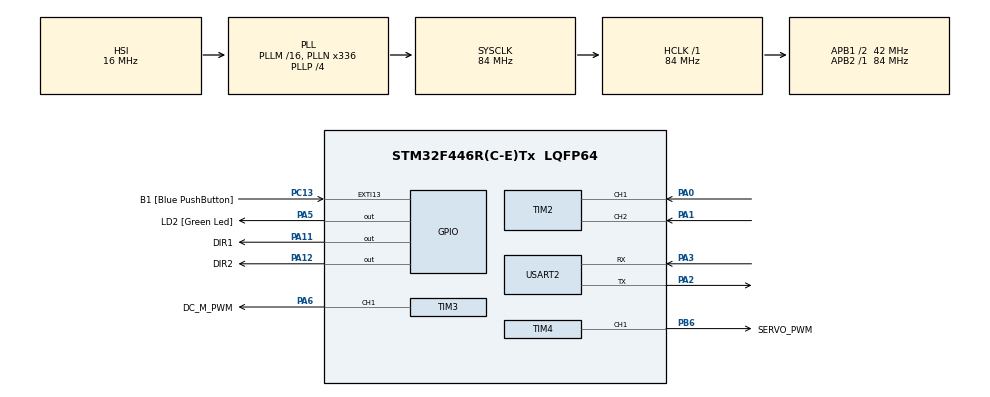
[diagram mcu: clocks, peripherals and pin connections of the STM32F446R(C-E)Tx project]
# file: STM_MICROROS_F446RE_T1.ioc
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Dma.Request0=USART2_RX
Dma.Request1=USART2_TX
Dma.USART2_RX.0.Direction=DMA_PERIPH_TO_MEMORY
Dma.USART2_RX.0.FIFOMode=DMA_FIFOMODE_DISABLE
Dma.USART2_RX.0.Instance=DMA1_Stream5
Dma.USART2_RX.0.MemDataAlignment=DMA_MDATAALIGN_BYTE
Dma.USART2_RX.0.MemInc=DMA_MINC_ENABLE
Dma.USART2_RX.0.Mode=DMA_CIRCULAR
Dma.USART2_RX.0.PeriphDataAlignment=DMA_PDATAALIGN_BYTE
Dma.USART2_RX.0.PeriphInc=DMA_PINC_DISABLE
Dma.USART2_RX.0.Priority=DMA_PRIORITY_LOW
Dma.USART2_TX.1.Direction=DMA_MEMORY_TO_PERIPH
Dma.USART2_TX.1.FIFOMode=DMA_FIFOMODE_DISABLE
Dma.USART2_TX.1.Instance=DMA1_Stream6
Dma.USART2_TX.1.MemDataAlignment=DMA_MDATAALIGN_BYTE
Dma.USART2_TX.1.MemInc=DMA_MINC_ENABLE
Dma.USART2_TX.1.Mode=DMA_CIRCULAR
Dma.USART2_TX.1.PeriphDataAlignment=DMA_PDATAALIGN_BYTE
Dma.USART2_TX.1.PeriphInc=DMA_PINC_DISABLE
Dma.USART2_TX.1.Priority=DMA_PRIORITY_LOW
FREERTOS.Queues01=DCQueue,16,uint16_t,0,Dynamic,NULL,NULL;ServoQueue,16,uint16_t,0,Dynamic,NULL,NULL
FREERTOS.Tasks01=UART_Task,24,128,UART_Task_Start,Default,NULL,Dynamic,NULL,NULL;DCMotor_Task,16,128,DCMotor_Task_Start,Default,NULL,Dynamic,NULL,NULL;Servo_Task,17,128,Servo_Task_Start,Default,NULL,Dynamic,NULL,NULL;microROS_Task,24,3000,microROS_StartTask,Default,NULL,Dynamic,NULL,NULL
Mcu.Family=STM32F4
Mcu.Name=STM32F446R(C-E)Tx
Mcu.Package=LQFP64
NVIC.DMA1_Stream5_IRQn=true\:5\:0\:false\:false\:true\:true\:false\:true\:true
NVIC.DMA1_Stream6_IRQn=true\:5\:0\:false\:false\:true\:true\:false\:true\:true
NVIC.PriorityGroup=NVIC_PRIORITYGROUP_4
NVIC.TIM6_DAC_IRQn=true\:15\:0\:false\:false\:true\:false\:false\:true\:true
NVIC.TimeBase=TIM6_DAC_IRQn
NVIC.TimeBaseIP=TIM6
NVIC.USART2_IRQn=true\:5\:0\:false\:false\:true\:true\:true\:true\:true
PA0-WKUP.Signal=S_TIM2_CH1_ETR
PA1.Signal=S_TIM2_CH2
PA11.GPIO_Label=DIR1
PA11.Signal=GPIO_Output
PA12.GPIO_Label=DIR2
PA12.Signal=GPIO_Output
PA13.GPIO_Label=TMS
PA13.Mode=Serial_Wire
PA13.Signal=SYS_JTMS-SWDIO
PA14.GPIO_Label=TCK
PA14.Mode=Serial_Wire
PA14.Signal=SYS_JTCK-SWCLK
PA2.Mode=Asynchronous
PA2.Signal=USART2_TX
PA3.Mode=Asynchronous
PA3.Signal=USART2_RX
PA5.GPIO_Label=LD2 [Green Led]
PA5.Signal=GPIO_Output
PA6.GPIO_Label=DC_M_PWM
PA6.Signal=S_TIM3_CH1
PB3.GPIO_Label=SWO
PB3.Signal=SYS_JTDO-SWO
PB6.GPIO_Label=SERVO_PWM
PB6.Signal=S_TIM4_CH1
PC13.GPIO_Label=B1 [Blue PushButton]
PC13.GPIO_ModeDefaultEXTI=GPIO_MODE_IT_FALLING
PC13.Signal=GPXTI13
PC14-OSC32_IN.Mode=LSE-External-Oscillator
PC14-OSC32_IN.Signal=RCC_OSC32_IN
PC15-OSC32_OUT.Mode=LSE-External-Oscillator
PC15-OSC32_OUT.Signal=RCC_OSC32_OUT
PH0-OSC_IN.Mode=HSE-External-Oscillator
PH0-OSC_IN.Signal=RCC_OSC_IN
PH1-OSC_OUT.Mode=HSE-External-Oscillator
PH1-OSC_OUT.Signal=RCC_OSC_OUT
ProjectManager.HeapSize=0x200
ProjectManager.StackSize=0x400
ProjectManager.TargetToolchain=STM32CubeIDE
RCC.48MHZClocksFreq_Value=84000000
RCC.AHBFreq_Value=84000000
RCC.APB1CLKDivider=RCC_HCLK_DIV2
RCC.APB1Freq_Value=42000000
RCC.APB1TimFreq_Value=84000000
RCC.APB2Freq_Value=84000000
RCC.APB2TimFreq_Value=84000000
RCC.CortexFreq_Value=84000000
RCC.FLatency-AdvancedSettings=FLASH_LATENCY_2
RCC.HCLKFreq_Value=84000000
RCC.HSE_VALUE=8000000
RCC.HSI_VALUE=16000000
RCC.PLLN=336
RCC.PLLP=RCC_PLLP_DIV4
RCC.SYSCLKFreq_VALUE=84000000
RCC.SYSCLKSource=RCC_SYSCLKSOURCE_PLLCLK
RCC.USBFreq_Value=168000000
RCC.VCOOutputFreq_Value=336000000
SH.S_TIM2_CH1_ETR.0=TIM2_CH1,Encoder_Interface
SH.S_TIM2_CH2.0=TIM2_CH2,Encoder_Interface
SH.S_TIM3_CH1.0=TIM3_CH1,PWM Generation1 CH1
SH.S_TIM4_CH1.0=TIM4_CH1,PWM Generation1 CH1
TIM2.EncoderMode=TIM_ENCODERMODE_TI12
TIM3.Channel-PWM\ Generation1\ CH1=TIM_CHANNEL_1
TIM4.Channel-PWM\ Generation1\ CH1=TIM_CHANNEL_1
TIM4.Period=20000 - 1
TIM4.Prescaler=84 - 1
USART2.VirtualMode=VM_ASYNC
VP_FREERTOS_VS_CMSIS_V2.Mode=CMSIS_V2
VP_SYS_VS_tim6.Mode=TIM6
board=NUCLEO-F446RE

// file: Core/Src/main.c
/* USER CODE BEGIN Header */
/**
  ******************************************************************************
  * @file           : main.c
  * @brief          : Main program body
  ******************************************************************************
  * @attention
  *
  * Copyright (c) 2026 STMicroelectronics.
  * All rights reserved.
  *
  * This software is licensed under terms that can be found in the LICENSE file
  * in the root directory of this software component.
  * If no LICENSE file comes with this software, it is provided AS-IS.
  *
  ******************************************************************************
  */
/* USER CODE END Header */
#include "main.h"
#include "cmsis_os.h"

/* USER CODE BEGIN Includes */
#include <stdio.h>
#include <string.h>
#include <stdlib.h>  // ADD THIS for atoi()
/* USER CODE END Includes */

TIM_HandleTypeDef htim2;
TIM_HandleTypeDef htim3;
TIM_HandleTypeDef htim4;

UART_HandleTypeDef huart2;
DMA_HandleTypeDef hdma_usart2_rx;
DMA_HandleTypeDef hdma_usart2_tx;

/* Definitions for UART_Task */
osThreadId_t UART_TaskHandle;
const osThreadAttr_t UART_Task_attributes = {
  .name = "UART_Task",
  .stack_size = 128 * 4,
  .priority = (osPriority_t) osPriorityNormal,
};
/* Definitions for DCMotor_Task */
osThreadId_t DCMotor_TaskHandle;
const osThreadAttr_t DCMotor_Task_attributes = {
  .name = "DCMotor_Task",
  .stack_size = 128 * 4,
  .priority = (osPriority_t) osPriorityBelowNormal,
};
/* Definitions for Servo_Task */
osThreadId_t Servo_TaskHandle;
const osThreadAttr_t Servo_Task_attributes = {
  .name = "Servo_Task",
  .stack_size = 128 * 4,
  .priority = (osPriority_t) osPriorityBelowNormal1,
};
/* Definitions for microROS_Task */
osThreadId_t microROS_TaskHandle;
const osThreadAttr_t microROS_Task_attributes = {
  .name = "microROS_Task",
  .stack_size = 3000 * 4,
  .priority = (osPriority_t) osPriorityNormal,
};
/* Definitions for DCQueue */
osMessageQueueId_t DCQueueHandle;
const osMessageQueueAttr_t DCQueue_attributes = {
  .name = "DCQueue"
};
/* Definitions for ServoQueue */
osMessageQueueId_t ServoQueueHandle;
const osMessageQueueAttr_t ServoQueue_attributes = {
  .name = "ServoQueue"
};
/* USER CODE BEGIN PV */
uint8_t rx_byte; // Global variable for UART buffer
/* USER CODE END PV */

void SystemClock_Config(void);
static void MX_GPIO_Init(void);
static void MX_DMA_Init(void);
static void MX_USART2_UART_Init(void);
static void MX_TIM2_Init(void);
static void MX_TIM3_Init(void);
static void MX_TIM4_Init(void);
void UART_Task_Start(void *argument);
void DCMotor_Task_Start(void *argument);
void Servo_Task_Start(void *argument);
void microROS_StartTask(void *argument);

int main(void)
{

  /* MCU Configuration--------------------------------------------------------*/

  /* Reset of all peripherals, Initializes the Flash interface and the Systick. */
  HAL_Init();

  /* Configure the system clock */
  SystemClock_Config();

  /* Initialize all configured peripherals */
  MX_GPIO_Init();
  MX_DMA_Init();
  MX_USART2_UART_Init();
  MX_TIM2_Init();
  MX_TIM3_Init();
  MX_TIM4_Init();
  /* USER CODE BEGIN 2 */
  HAL_TIM_PWM_Start(&htim3, TIM_CHANNEL_1);       // DC Motor PWM
  HAL_TIM_PWM_Start(&htim4, TIM_CHANNEL_1);       // Servo Motor PWM
  HAL_TIM_Encoder_Start(&htim2, TIM_CHANNEL_ALL); // Encoder Timer

//  HAL_UART_Receive_IT(&huart2, &rx_byte, 1);      // Prime the UART interrupt
  /* USER CODE END 2 */

  /* Init scheduler */
  osKernelInitialize();

  /* Create the queue(s) */
  /* creation of DCQueue */
  DCQueueHandle = osMessageQueueNew (16, sizeof(uint16_t), &DCQueue_attributes);

  /* creation of ServoQueue */
  ServoQueueHandle = osMessageQueueNew (16, sizeof(uint16_t), &ServoQueue_attributes);

  /* Create the thread(s) */
  /* creation of UART_Task */
  UART_TaskHandle = osThreadNew(UART_Task_Start, NULL, &UART_Task_attributes);

  /* creation of DCMotor_Task */
  DCMotor_TaskHandle = osThreadNew(DCMotor_Task_Start, NULL, &DCMotor_Task_attributes);

  /* creation of Servo_Task */
  Servo_TaskHandle = osThreadNew(Servo_Task_Start, NULL, &Servo_Task_attributes);

  /* creation of microROS_Task */
  microROS_TaskHandle = osThreadNew(microROS_StartTask, NULL, &microROS_Task_attributes);

  /* Start scheduler */
  osKernelStart();

  /* We should never get here as control is now taken by the scheduler */

  /* Infinite loop */
  while (1)
  {

  }
}

void SystemClock_Config(void)
{
  RCC_OscInitTypeDef RCC_OscInitStruct = {0};
  RCC_ClkInitTypeDef RCC_ClkInitStruct = {0};

  /** Configure the main internal regulator output voltage
  */
  __HAL_RCC_PWR_CLK_ENABLE();
  __HAL_PWR_VOLTAGESCALING_CONFIG(PWR_REGULATOR_VOLTAGE_SCALE3);

  /** Initializes the RCC Oscillators according to the specified parameters
  * in the RCC_OscInitTypeDef structure.
  */
  RCC_OscInitStruct.OscillatorType = RCC_OSCILLATORTYPE_HSI;
  RCC_OscInitStruct.HSIState = RCC_HSI_ON;
  RCC_OscInitStruct.HSICalibrationValue = RCC_HSICALIBRATION_DEFAULT;
  RCC_OscInitStruct.PLL.PLLState = RCC_PLL_ON;
  RCC_OscInitStruct.PLL.PLLSource = RCC_PLLSOURCE_HSI;
  RCC_OscInitStruct.PLL.PLLM = 16;
  RCC_OscInitStruct.PLL.PLLN = 336;
  RCC_OscInitStruct.PLL.PLLP = RCC_PLLP_DIV4;
  RCC_OscInitStruct.PLL.PLLQ = 2;
  RCC_OscInitStruct.PLL.PLLR = 2;
  if (HAL_RCC_OscConfig(&RCC_OscInitStruct) != HAL_OK)
  {
    Error_Handler();
  }

  /** Initializes the CPU, AHB and APB buses clocks
  */
  RCC_ClkInitStruct.ClockType = RCC_CLOCKTYPE_HCLK|RCC_CLOCKTYPE_SYSCLK
                              |RCC_CLOCKTYPE_PCLK1|RCC_CLOCKTYPE_PCLK2;
  RCC_ClkInitStruct.SYSCLKSource = RCC_SYSCLKSOURCE_PLLCLK;
  RCC_ClkInitStruct.AHBCLKDivider = RCC_SYSCLK_DIV1;
  RCC_ClkInitStruct.APB1CLKDivider = RCC_HCLK_DIV2;
  RCC_ClkInitStruct.APB2CLKDivider = RCC_HCLK_DIV1;

  if (HAL_RCC_ClockConfig(&RCC_ClkInitStruct, FLASH_LATENCY_2) != HAL_OK)
  {
    Error_Handler();
  }
}

static void MX_TIM2_Init(void)
{

  TIM_Encoder_InitTypeDef sConfig = {0};
  TIM_MasterConfigTypeDef sMasterConfig = {0};

  htim2.Instance = TIM2;
  htim2.Init.Prescaler = 0;
  htim2.Init.CounterMode = TIM_COUNTERMODE_UP;
  htim2.Init.Period = 4294967295;
  htim2.Init.ClockDivision = TIM_CLOCKDIVISION_DIV1;
  htim2.Init.AutoReloadPreload = TIM_AUTORELOAD_PRELOAD_DISABLE;
  sConfig.EncoderMode = TIM_ENCODERMODE_TI12;
  sConfig.IC1Polarity = TIM_ICPOLARITY_RISING;
  sConfig.IC1Selection = TIM_ICSELECTION_DIRECTTI;
  sConfig.IC1Prescaler = TIM_ICPSC_DIV1;
  sConfig.IC1Filter = 0;
  sConfig.IC2Polarity = TIM_ICPOLARITY_RISING;
  sConfig.IC2Selection = TIM_ICSELECTION_DIRECTTI;
  sConfig.IC2Prescaler = TIM_ICPSC_DIV1;
  sConfig.IC2Filter = 0;
  if (HAL_TIM_Encoder_Init(&htim2, &sConfig) != HAL_OK)
  {
    Error_Handler();
  }
  sMasterConfig.MasterOutputTrigger = TIM_TRGO_RESET;
  sMasterConfig.MasterSlaveMode = TIM_MASTERSLAVEMODE_DISABLE;
  if (HAL_TIMEx_MasterConfigSynchronization(&htim2, &sMasterConfig) != HAL_OK)
  {
    Error_Handler();
  }

}

static void MX_TIM3_Init(void)
{

  TIM_MasterConfigTypeDef sMasterConfig = {0};
  TIM_OC_InitTypeDef sConfigOC = {0};

  htim3.Instance = TIM3;
  htim3.Init.Prescaler = 0;
  htim3.Init.CounterMode = TIM_COUNTERMODE_UP;
  htim3.Init.Period = 65535;
  htim3.Init.ClockDivision = TIM_CLOCKDIVISION_DIV1;
  htim3.Init.AutoReloadPreload = TIM_AUTORELOAD_PRELOAD_DISABLE;
  if (HAL_TIM_PWM_Init(&htim3) != HAL_OK)
  {
    Error_Handler();
  }
  sMasterConfig.MasterOutputTrigger = TIM_TRGO_RESET;
  sMasterConfig.MasterSlaveMode = TIM_MASTERSLAVEMODE_DISABLE;
  if (HAL_TIMEx_MasterConfigSynchronization(&htim3, &sMasterConfig) != HAL_OK)
  {
    Error_Handler();
  }
  sConfigOC.OCMode = TIM_OCMODE_PWM1;
  sConfigOC.Pulse = 0;
  sConfigOC.OCPolarity = TIM_OCPOLARITY_HIGH;
  sConfigOC.OCFastMode = TIM_OCFAST_DISABLE;
  if (HAL_TIM_PWM_ConfigChannel(&htim3, &sConfigOC, TIM_CHANNEL_1) != HAL_OK)
  {
    Error_Handler();
  }
  HAL_TIM_MspPostInit(&htim3);

}

static void MX_TIM4_Init(void)
{

  TIM_MasterConfigTypeDef sMasterConfig = {0};
  TIM_OC_InitTypeDef sConfigOC = {0};

  htim4.Instance = TIM4;
  htim4.Init.Prescaler = 84 - 1;
  htim4.Init.CounterMode = TIM_COUNTERMODE_UP;
  htim4.Init.Period = 20000 - 1;
  htim4.Init.ClockDivision = TIM_CLOCKDIVISION_DIV1;
  htim4.Init.AutoReloadPreload = TIM_AUTORELOAD_PRELOAD_DISABLE;
  if (HAL_TIM_PWM_Init(&htim4) != HAL_OK)
  {
    Error_Handler();
  }
  sMasterConfig.MasterOutputTrigger = TIM_TRGO_RESET;
  sMasterConfig.MasterSlaveMode = TIM_MASTERSLAVEMODE_DISABLE;
  if (HAL_TIMEx_MasterConfigSynchronization(&htim4, &sMasterConfig) != HAL_OK)
  {
    Error_Handler();
  }
  sConfigOC.OCMode = TIM_OCMODE_PWM1;
  sConfigOC.Pulse = 0;
  sConfigOC.OCPolarity = TIM_OCPOLARITY_HIGH;
  sConfigOC.OCFastMode = TIM_OCFAST_DISABLE;
  if (HAL_TIM_PWM_ConfigChannel(&htim4, &sConfigOC, TIM_CHANNEL_1) != HAL_OK)
  {
    Error_Handler();
  }
  HAL_TIM_MspPostInit(&htim4);

}

static void MX_USART2_UART_Init(void)
{

  huart2.Instance = USART2;
  huart2.Init.BaudRate = 115200;
  huart2.Init.WordLength = UART_WORDLENGTH_8B;
  huart2.Init.StopBits = UART_STOPBITS_1;
  huart2.Init.Parity = UART_PARITY_NONE;
  huart2.Init.Mode = UART_MODE_TX_RX;
  huart2.Init.HwFlowCtl = UART_HWCONTROL_NONE;
  huart2.Init.OverSampling = UART_OVERSAMPLING_16;
  if (HAL_UART_Init(&huart2) != HAL_OK)
  {
    Error_Handler();
  }

}

static void MX_DMA_Init(void)
{

  /* DMA controller clock enable */
  __HAL_RCC_DMA1_CLK_ENABLE();

  /* DMA interrupt init */
  /* DMA1_Stream5_IRQn interrupt configuration */
  HAL_NVIC_SetPriority(DMA1_Stream5_IRQn, 5, 0);
  HAL_NVIC_EnableIRQ(DMA1_Stream5_IRQn);
  /* DMA1_Stream6_IRQn interrupt configuration */
  HAL_NVIC_SetPriority(DMA1_Stream6_IRQn, 5, 0);
  HAL_NVIC_EnableIRQ(DMA1_Stream6_IRQn);

}

static void MX_GPIO_Init(void)
{
  GPIO_InitTypeDef GPIO_InitStruct = {0};

  /* GPIO Ports Clock Enable */
  __HAL_RCC_GPIOC_CLK_ENABLE();
  __HAL_RCC_GPIOH_CLK_ENABLE();
  __HAL_RCC_GPIOA_CLK_ENABLE();
  __HAL_RCC_GPIOB_CLK_ENABLE();

  /*Configure GPIO pin Output Level */
  HAL_GPIO_WritePin(GPIOA, LD2_Pin|DIR1_Pin|DIR2_Pin, GPIO_PIN_RESET);

  /*Configure GPIO pin : B1_Pin */
  GPIO_InitStruct.Pin = B1_Pin;
  GPIO_InitStruct.Mode = GPIO_MODE_IT_FALLING;
  GPIO_InitStruct.Pull = GPIO_NOPULL;
  HAL_GPIO_Init(B1_GPIO_Port, &GPIO_InitStruct);

  /*Configure GPIO pins : LD2_Pin DIR1_Pin DIR2_Pin */
  GPIO_InitStruct.Pin = LD2_Pin|DIR1_Pin|DIR2_Pin;
  GPIO_InitStruct.Mode = GPIO_MODE_OUTPUT_PP;
  GPIO_InitStruct.Pull = GPIO_NOPULL;
  GPIO_InitStruct.Speed = GPIO_SPEED_FREQ_LOW;
  HAL_GPIO_Init(GPIOA, &GPIO_InitStruct);

}

void UART_Task_Start(void *argument)
{
  /* USER CODE BEGIN 5 */
  for(;;)
  {
      osDelay(osWaitForever); // Safely disable this old task
  }
  /* USER CODE END 5 */
}

void DCMotor_Task_Start(void *argument)
{
  /* USER CODE BEGIN DCMotor_Task_Start */
  uint16_t target_speed;
  /* Infinite loop */
  for(;;)
  {
      // Block until new speed arrives
      if (osMessageQueueGet(DCQueueHandle, &target_speed, NULL, osWaitForever) == osOK) {
          // Only update the PWM duty cycle here
          __HAL_TIM_SET_COMPARE(&htim3, TIM_CHANNEL_1, target_speed);
      }
  }
  /* USER CODE END DCMotor_Task_Start */
}

void Servo_Task_Start(void *argument)
{
  /* USER CODE BEGIN Servo_Task_Start */
	uint16_t target_angle;
  /* Infinite loop */
  for(;;)
  {
  if (osMessageQueueGet(ServoQueueHandle, &target_angle, NULL, osWaitForever) == osOK) {

		  // Map 0-180 degrees to 1000-2000 microseconds (assuming 1us timer ticks)
		  uint32_t pulse_width = 1000 + ((target_angle * 1000) / 180);

		  __HAL_TIM_SET_COMPARE(&htim4, TIM_CHANNEL_1, pulse_width);
	  }
    osDelay(1);
  }
  /* USER CODE END Servo_Task_Start */
}

/* USER CODE BEGIN Header_microROS_StartTask */
void microROS_StartTask(void *argument)
{
  /* USER CODE BEGIN microROS_StartTask */
  // Expose the function we wrote in freertos.c
  extern void StartMicroROSTask(void *argument);

  // Jump over to freertos.c and run the ROS loop FIRST!
  StartMicroROSTask(NULL);

  /* Infinite loop (Fallback only, it should never reach here) */
  for(;;)
  {
    osDelay(1);
  }
  /* USER CODE END microROS_StartTask */
}

void HAL_TIM_PeriodElapsedCallback(TIM_HandleTypeDef *htim)
{
  if (htim->Instance == TIM6)
  {
    HAL_IncTick();
  }
}

void Error_Handler(void)
{
  __disable_irq();
  while (1)
  {
  }
}

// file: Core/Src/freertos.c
/* USER CODE BEGIN Header */
/**
  ******************************************************************************
  * File Name          : freertos.c
  * Description        : Code for freertos applications
  ******************************************************************************
  * @attention
  *
  * Copyright (c) 2026 STMicroelectronics.
  * All rights reserved.
  *
  * This software is licensed under terms that can be found in the LICENSE file
  * in the root directory of this software component.
  * If no LICENSE file comes with this software, it is provided AS-IS.
  *
  ******************************************************************************
  */
/* USER CODE END Header */

#include "FreeRTOS.h"
#include "task.h"
#include "main.h"

/* USER CODE BEGIN Includes */
#include "cmsis_os.h"  // <-- THIS FIXES THE OSDELAY AND QUEUE ERRORS
#include <rcl/rcl.h>
#include <rcl/error_handling.h>
#include <rclc/rclc.h>
#include <rclc/executor.h>
#include <std_msgs/msg/int32.h>
#include <rmw_microros/rmw_microros.h>

// Bring in your hardware timers for the encoder
extern TIM_HandleTypeDef htim2;
extern UART_HandleTypeDef huart2;

// Bring in your Queues from main.c
extern osMessageQueueId_t DCQueueHandle;
extern osMessageQueueId_t ServoQueueHandle;

void * microros_allocate(size_t size, void * state);
void microros_deallocate(void * pointer, void * state);
void * microros_reallocate(void * pointer, size_t size, void * state);
void * microros_zero_allocate(size_t number_of_elements, size_t size, void * state);
/* USER CODE END Includes */

/* USER CODE BEGIN Variables */

std_msgs__msg__Int32 msg_encoder;
std_msgs__msg__Int32 msg_speed;
std_msgs__msg__Int32 msg_dir;
std_msgs__msg__Int32 msg_servo;

// Callback functions
void speed_callback(const void * msgin) {
  const std_msgs__msg__Int32 * msg = (const std_msgs__msg__Int32 *)msgin;
  uint16_t speed_val = (uint16_t)msg->data;
  osMessageQueuePut(DCQueueHandle, &speed_val, 0, 0);
}

void dir_callback(const void * msgin) {
  const std_msgs__msg__Int32 * msg = (const std_msgs__msg__Int32 *)msgin;
  if (msg->data == 1) {
      HAL_GPIO_WritePin(GPIOA, GPIO_PIN_11, GPIO_PIN_SET);
      HAL_GPIO_WritePin(GPIOA, GPIO_PIN_12, GPIO_PIN_RESET);
  } else {
      HAL_GPIO_WritePin(GPIOA, GPIO_PIN_11, GPIO_PIN_RESET);
      HAL_GPIO_WritePin(GPIOA, GPIO_PIN_12, GPIO_PIN_SET);
  }
}

void servo_callback(const void * msgin) {
  const std_msgs__msg__Int32 * msg = (const std_msgs__msg__Int32 *)msgin;
  uint16_t angle_val = (uint16_t)msg->data;
  osMessageQueuePut(ServoQueueHandle, &angle_val, 0, 0);
}

// Transport functions (UPDATED FOR YOUR MICRO-ROS VERSION)
bool cubemx_transport_open(struct uxrCustomTransport * transport);
bool cubemx_transport_close(struct uxrCustomTransport * transport);
size_t cubemx_transport_write(struct uxrCustomTransport* transport, const uint8_t * buf, size_t len, uint8_t * err);
size_t cubemx_transport_read(struct uxrCustomTransport* transport, uint8_t* buf, size_t len, int timeout, uint8_t* err);

/* USER CODE END Variables */

/* USER CODE BEGIN Application */

// We define the function here in freertos.c to keep things clean!
/* USER CODE BEGIN Application */
void StartMicroROSTask(void *argument)
{
  // 1. Set up the transport
  rmw_uros_set_custom_transport(
    true, (void *) &huart2,
    cubemx_transport_open, cubemx_transport_close,
    cubemx_transport_write, cubemx_transport_read);

  // 2. Set up the memory allocator specifically for FreeRTOS (FROM YOUR README!)
  rcl_allocator_t freeRTOS_allocator = rcutils_get_zero_initialized_allocator();
  freeRTOS_allocator.allocate = microros_allocate;
  freeRTOS_allocator.deallocate = microros_deallocate;
  freeRTOS_allocator.reallocate = microros_reallocate;
  freeRTOS_allocator.zero_allocate =  microros_zero_allocate;
  rcutils_set_default_allocator(&freeRTOS_allocator);

  rclc_support_t support;
  rcl_node_t node;
  rclc_executor_t executor;

  rcl_publisher_t pub_encoder;
  rcl_subscription_t sub_speed;
  rcl_subscription_t sub_dir;
  rcl_subscription_t sub_servo;

  // 3. Initialize micro-ROS (Wait until the Pi agent is connected - 1000ms timeout!)
  rmw_ret_t status = RMW_RET_ERROR;
  while(status != RMW_RET_OK) {
      status = rmw_uros_ping_agent(1000, 1);
      osDelay(100);
  }

  // 4. Create Node, Publisher, and Subscribers
  rclc_support_init(&support, 0, NULL, &freeRTOS_allocator);
  rclc_node_init_default(&node, "stm32_base_node", "", &support);

  rclc_publisher_init_default(&pub_encoder, &node, ROSIDL_GET_MSG_TYPE_SUPPORT(std_msgs, msg, Int32), "/encoder_ticks");
  rclc_subscription_init_default(&sub_speed, &node, ROSIDL_GET_MSG_TYPE_SUPPORT(std_msgs, msg, Int32), "/drive_motor_speed");
  rclc_subscription_init_default(&sub_dir, &node, ROSIDL_GET_MSG_TYPE_SUPPORT(std_msgs, msg, Int32), "/drive_motor_dir");
  rclc_subscription_init_default(&sub_servo, &node, ROSIDL_GET_MSG_TYPE_SUPPORT(std_msgs, msg, Int32), "/servo_angle");

  rclc_executor_init(&executor, &support.context, 3, &freeRTOS_allocator);
  rclc_executor_add_subscription(&executor, &sub_speed, &msg_speed, &speed_callback, ON_NEW_DATA);
  rclc_executor_add_subscription(&executor, &sub_dir, &msg_dir, &dir_callback, ON_NEW_DATA);
  rclc_executor_add_subscription(&executor, &sub_servo, &msg_servo, &servo_callback, ON_NEW_DATA);

  /* Infinite loop */
  for(;;)
  {
    rclc_executor_spin_some(&executor, RCL_MS_TO_NS(10));

    msg_encoder.data = (int32_t)__HAL_TIM_GET_COUNTER(&htim2);
    rcl_publish(&pub_encoder, &msg_encoder, NULL);

    osDelay(10);
  }
}

/* USER CODE END Application */
